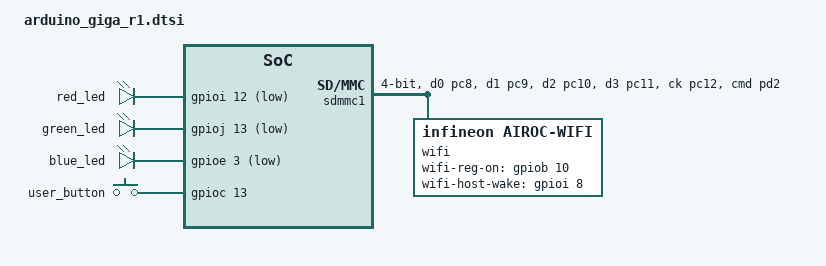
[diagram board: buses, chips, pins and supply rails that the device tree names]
/*
 * Copyright 2023 Google LLC
 *
 * SPDX-License-Identifier: Apache-2.0
 */

#include "arduino_r3_connector.dtsi"
#include <zephyr/dt-bindings/input/input-event-codes.h>

/ {
	aliases {
		sdhc0 = &sdhc;
	};

	leds {
		compatible = "gpio-leds";

		red_led: led_0 {
			gpios = <&gpioi 12 GPIO_ACTIVE_LOW>;
		};

		green_led: led_1 {
			gpios = <&gpioj 13 GPIO_ACTIVE_LOW>;
		};

		blue_led: led_2 {
			gpios = <&gpioe 3 GPIO_ACTIVE_LOW>;
		};
	};

	gpio_keys {
		compatible = "gpio-keys";

		user_button: button_0 {
			gpios = <&gpioc 13 GPIO_ACTIVE_HIGH>;
			zephyr,code = <INPUT_KEY_0>;
		};
	};
};

&rcc {
	d1cpre = <1>;
	hpre = <2>;
	d1ppre = <2>;
	d2ppre1 = <2>;
	d2ppre2 = <2>;
	d3ppre = <2>;
};

&mailbox {
	status = "okay";
};

sdhc: &sdmmc1 {
	compatible = "st,stm32-sdio";
	interrupts = <49 0>;
	interrupt-names = "event";
	pinctrl-0 = <&sdmmc1_d0_pc8 &sdmmc1_d1_pc9
		     &sdmmc1_d2_pc10 &sdmmc1_d3_pc11
		     &sdmmc1_ck_pc12 &sdmmc1_cmd_pd2>;
	pinctrl-names = "default";
	sdhi-on-gpios = <&gpiob 10 GPIO_ACTIVE_HIGH>;
	min-bus-freq = <DT_FREQ_K(400)>;
	max-bus-freq = <DT_FREQ_M(208)>;
	hw-flow-control;
	bus-width = <4>;
	status = "okay";

	wifi: airoc-wifi {
		status = "okay";
		compatible = "infineon,airoc-wifi";
		wifi-reg-on-gpios = <&gpiob 10 GPIO_ACTIVE_HIGH>;
		wifi-host-wake-gpios = <&gpioi 8 GPIO_ACTIVE_HIGH>;
	};
};
